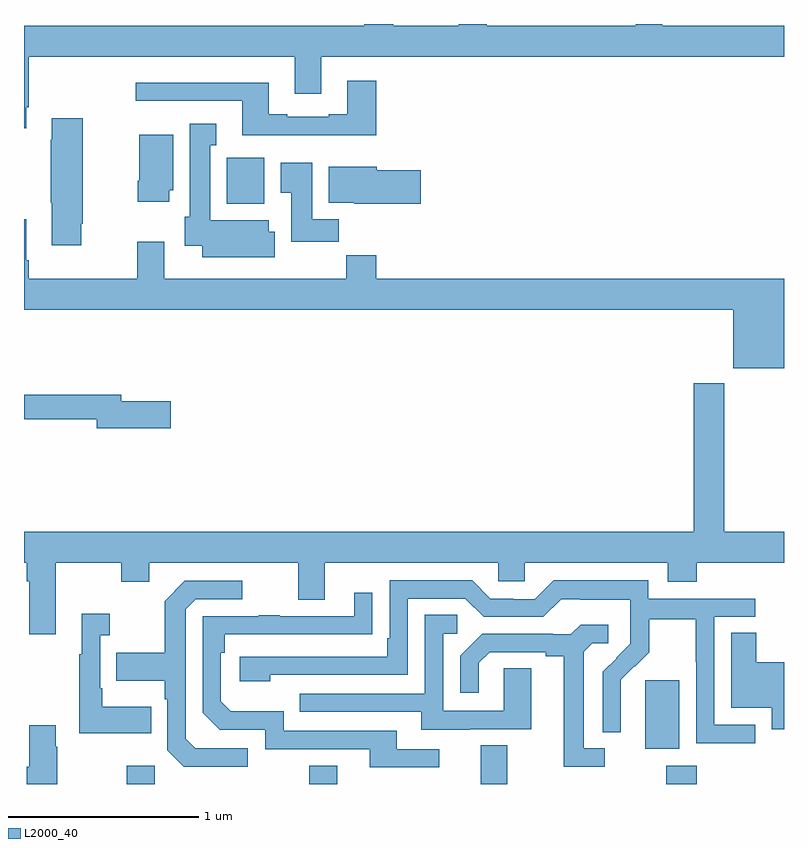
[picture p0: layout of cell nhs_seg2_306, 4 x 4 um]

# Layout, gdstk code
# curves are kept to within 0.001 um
import gdstk
lib = gdstk.Library(unit=1e-6, precision=1e-09)
def R(c, l, rs):  # rectangles x0, y0, x1, y1
    for r in rs: c.add(gdstk.rectangle(r[:2], r[2:], *l))
def P(c, l, *ps):  # polygons
    for p in ps: c.add(gdstk.Polygon(p, *l))
L2000_40 = (2000, 40)

nhs_seg2_306 = lib.new_cell('nhs_seg2_306')
R(nhs_seg2_306, L2000_40, [(125.542,651.8,125.688,651.895), (126.502,651.8,126.649,651.895), (127.403,651.8,127.543,652.004), (128.38,651.8,128.54,651.895), (128.27,651.986,128.449,652.347), (126.068,654.854,126.265,655.096)])
P(nhs_seg2_306, L2000_40, [(125.011,655.363),(125.024,655.363),(125.024,655.628),(126.425,655.628),(126.425,655.434),(126.565,655.434),(126.565,655.628),(129,655.628),(129,655.792),(128.359,655.792),(128.359,655.8),(128.219,655.8),(128.219,655.792),(127.435,655.792),(127.435,655.8),(127.288,655.8),(127.288,655.792),(126.943,655.792),(126.943,655.8),(126.791,655.8),(126.791,655.792),(125,655.792),(125,655.251),(125.011,655.251)],
  [(126.854,655.501),(126.701,655.501),(126.701,655.324),(126.605,655.324),(126.605,655.311),(126.385,655.311),(126.385,655.324),(126.289,655.324),(126.289,655.492),(125.589,655.492),(125.589,655.395),(126.149,655.395),(126.149,655.214),(126.854,655.214)],
  [(125.302,654.748),(125.31,654.748),(125.31,655.303),(125.147,655.303),(125.147,655.19),(125.14,655.19),(125.14,654.859),(125.147,654.859),(125.147,654.636),(125.302,654.636)],
  [(126.319,654.707),(126.289,654.707),(126.289,654.766),(125.98,654.766),(125.98,655.163),(126.013,655.163),(126.013,655.276),(125.873,655.276),(125.873,654.786),(125.846,654.786),(125.846,654.632),(125.939,654.632),(125.939,654.572),(126.319,654.572)],
  [(125.764,654.924),(125.785,654.924),(125.785,655.216),(125.606,655.216),(125.606,654.976),(125.599,654.976),(125.599,654.864),(125.764,654.864)],
  [(126.656,654.772),(126.517,654.772),(126.517,655.069),(126.35,655.069),(126.35,654.913),(126.407,654.913),(126.407,654.654),(126.656,654.654)],
  [(127.087,655.031),(126.856,655.031),(126.856,655.048),(126.605,655.048),(126.605,654.86),(126.738,654.86),(126.738,654.854),(127.087,654.854)],
  [(129,654.46),(126.854,654.46),(126.854,654.584),(126.697,654.584),(126.697,654.46),(125.737,654.46),(125.737,654.655),(125.597,654.655),(125.597,654.46),(125.024,654.46),(125.024,654.556),(125.011,654.556),(125.011,654.772),(125,654.772),(125,654.296),(128.732,654.296),(128.732,653.987),(129,653.987)],
  [(125.167,652.964),(125.512,652.964),(125.512,652.865),(125.659,652.865),(125.659,652.964),(126.443,652.964),(126.443,652.77),(126.583,652.77),(126.583,652.964),(127.497,652.964),(127.497,652.866),(127.635,652.866),(127.635,652.964),(128.387,652.964),(128.387,652.865),(128.54,652.865),(128.54,652.964),(129,652.964),(129,653.128),(128.685,653.128),(128.685,653.908),(128.525,653.908),(128.525,653.128),(125,653.128),(125,652.964),(125.015,652.964),(125.015,652.868),(125.027,652.868),(125.027,652.587),(125.167,652.587)],
  [(125.773,653.814),(125.512,653.814),(125.512,653.848),(125,653.848),(125,653.719),(125.384,653.719),(125.384,653.672),(125.773,653.672)],
  [(128.848,652.113),(128.634,652.113),(128.634,652.68),(128.848,652.68),(128.848,652.776),(128.286,652.776),(128.286,652.873),(127.789,652.873),(127.689,652.773),(127.574,652.773),(127.574,652.776),(127.455,652.776),(127.359,652.872),(126.924,652.872),(126.924,652.567),(126.911,652.567),(126.911,652.47),(126.135,652.47),(126.135,652.34),(126.296,652.34),(126.296,652.374),(127.02,652.374),(127.02,652.776),(127.323,652.776),(127.419,652.68),(127.734,652.68),(127.827,652.773),(127.927,652.773),(127.927,652.769),(128.19,652.769),(128.19,652.635),(128.192,652.635),(128.192,652.538),(128.046,652.39),(128.046,652.072),(128.142,652.072),(128.141,652.349),(128.211,652.419),(128.214,652.416),(128.291,652.493),(128.291,652.668),(128.536,652.668),(128.536,652.444),(128.538,652.444),(128.538,652.015),(128.848,652.015)],
  [(126.178,651.987),(125.901,651.987),(125.85,652.038),(125.85,652.719),(125.904,652.773),(126.148,652.773),(126.148,652.869),(125.847,652.869),(125.742,652.763),(125.742,652.491),(125.485,652.491),(125.485,652.343),(125.742,652.343),(125.742,652.247),(125.754,652.247),(125.754,651.978),(125.841,651.891),(126.178,651.891)],
  [(127.186,651.984),(126.961,651.984),(126.961,652.08),(126.366,652.08),(126.366,652.183),(126.089,652.183),(126.036,652.236),(126.036,652.49),(126.056,652.49),(126.056,652.587),(126.833,652.588),(126.833,652.807),(126.737,652.807),(126.737,652.683),(126.347,652.683),(126.347,652.688),(126.235,652.688),(126.235,652.683),(125.94,652.683),(125.94,652.176),(126.03,652.086),(126.27,652.086),(126.27,651.984),(126.821,651.984),(126.821,651.888),(127.186,651.888)],
  [(125.669,652.207),(125.413,652.207),(125.413,652.303),(125.4,652.303),(125.4,652.583),(125.452,652.583),(125.452,652.696),(125.303,652.696),(125.303,652.483),(125.292,652.483),(125.292,652.067),(125.669,652.067)],
  [(127.345,652.089),(127.669,652.089),(127.669,652.409),(127.524,652.409),(127.524,652.185),(127.206,652.185),(127.206,652.59),(127.279,652.59),(127.279,652.691),(127.11,652.691),(127.11,652.275),(126.451,652.275),(126.451,652.179),(127.091,652.179),(127.091,652.085),(127.345,652.085)],
  [(128.056,651.987),(127.945,651.987),(127.945,652.495),(127.992,652.542),(128.074,652.542),(128.074,652.639),(127.93,652.639),(127.878,652.587),(127.784,652.587),(127.784,652.59),(127.412,652.59),(127.296,652.474),(127.296,652.281),(127.393,652.281),(127.393,652.437),(127.45,652.494),(127.745,652.494),(127.745,652.472),(127.841,652.472),(127.841,651.891),(128.056,651.891)],
  [(129,652.441),(128.854,652.441),(128.854,652.595),(128.723,652.595),(128.723,652.202),(128.936,652.202),(128.936,652.089),(129,652.089)],
  [(125.175,651.995),(125.167,651.995),(125.167,652.108),(125.027,652.108),(125.027,651.892),(125.015,651.892),(125.015,651.8),(125.175,651.8)])

lib.write_gds('nhs_seg2_306.gds')
